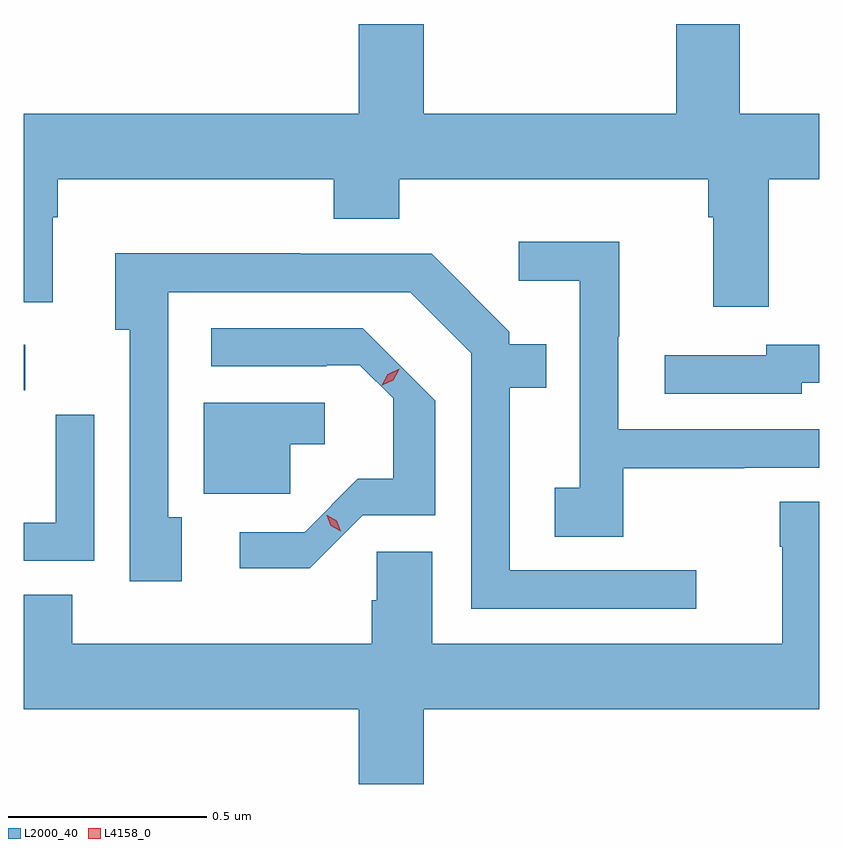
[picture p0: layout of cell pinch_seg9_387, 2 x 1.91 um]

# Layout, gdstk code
import gdstk
lib = gdstk.Library(unit=1e-6, precision=1e-09)
def R(c, l, rs):  # rectangles x0, y0, x1, y1
    for r in rs: c.add(gdstk.rectangle(r[:2], r[2:], *l))
def P(c, l, *ps):  # polygons
    for p in ps: c.add(gdstk.Polygon(p, *l))
L2000_40 = (2000, 40)
L4158_0 = (4158, 0)

pinch_seg9_387 = lib.new_cell('pinch_seg9_387')
R(pinch_seg9_387, L2000_40, [(379.95,1230.522,379.954,1230.636)])
P(pinch_seg9_387, L2000_40, [(379.95,1230.743),(380.023,1230.743),(380.023,1230.956),(380.036,1230.956),(380.036,1231.052),(380.729,1231.052),(380.729,1230.953),(380.894,1230.953),(380.894,1231.052),(381.671,1231.052),(381.671,1230.956),(381.683,1230.956),(381.683,1230.732),(381.823,1230.732),(381.823,1231.052),(381.95,1231.052),(381.95,1231.216),(381.75,1231.216),(381.75,1231.442),(381.59,1231.442),(381.59,1231.216),(380.956,1231.216),(380.956,1231.442),(380.792,1231.442),(380.792,1231.216),(379.95,1231.216)],
  [(381.457,1230.325),(381.761,1230.325),(381.761,1230.327),(381.95,1230.327),(381.95,1230.423),(381.444,1230.423),(381.444,1230.656),(381.447,1230.656),(381.447,1230.895),(381.195,1230.895),(381.195,1230.797),(381.348,1230.797),(381.348,1230.276),(381.285,1230.276),(381.285,1230.154),(381.457,1230.154)],
  [(381.64,1230.069),(381.172,1230.069),(381.172,1230.528),(381.263,1230.528),(381.263,1230.637),(381.171,1230.637),(381.171,1230.669),(380.976,1230.864),(380.645,1230.864),(380.645,1230.866),(380.18,1230.866),(380.18,1230.674),(380.217,1230.674),(380.217,1230.042),(380.347,1230.042),(380.347,1230.202),(380.313,1230.202),(380.313,1230.768),(380.922,1230.768),(381.075,1230.615),(381.075,1229.973),(381.64,1229.973)],
  [(380.802,1230.207),(380.985,1230.207),(380.985,1230.495),(380.802,1230.678),(380.421,1230.678),(380.421,1230.582),(380.712,1230.582),(380.712,1230.585),(380.795,1230.585),(380.879,1230.502),(380.879,1230.299),(380.79,1230.299),(380.656,1230.165),(380.493,1230.165),(380.493,1230.074),(380.669,1230.074)],
  [(381.906,1230.54),(381.95,1230.54),(381.95,1230.636),(381.816,1230.636),(381.816,1230.609),(381.561,1230.609),(381.561,1230.513),(381.906,1230.513)],
  [(380.62,1230.386),(380.707,1230.386),(380.707,1230.49),(380.403,1230.49),(380.403,1230.261),(380.62,1230.261)],
  [(380.127,1230.46),(380.031,1230.46),(380.031,1230.189),(379.95,1230.189),(379.95,1230.093),(380.127,1230.093)],
  [(380.956,1229.72),(381.95,1229.72),(381.95,1230.241),(381.85,1230.241),(381.85,1230.128),(381.857,1230.128),(381.857,1229.884),(380.977,1229.884),(380.977,1230.116),(380.838,1230.116),(380.838,1229.994),(380.825,1229.994),(380.825,1229.884),(380.072,1229.884),(380.072,1230.008),(379.95,1230.008),(379.95,1229.72),(380.792,1229.72),(380.792,1229.532),(380.956,1229.532)])
P(pinch_seg9_387, L4158_0, [(380.85,1230.534),(380.85,1230.534),(380.865,1230.562),(380.894,1230.575),(380.894,1230.575),(380.894,1230.574),(380.879,1230.547),(380.851,1230.534)],
  [(380.747,1230.167),(380.722,1230.181),(380.712,1230.208),(380.712,1230.208),(380.713,1230.208),(380.737,1230.194),(380.747,1230.167),(380.747,1230.167)])

lib.write_gds('pinch_seg9_387.gds')
